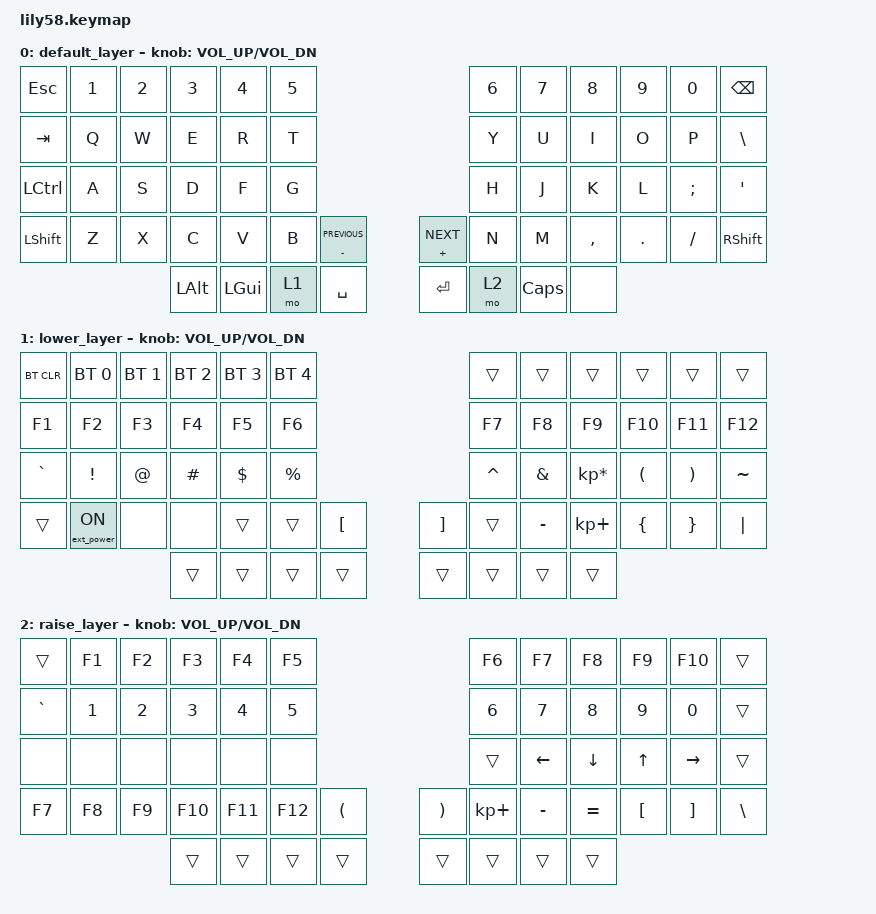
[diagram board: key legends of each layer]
/*
 * Copyright (c) 2020 The ZMK Contributors
 *
 * SPDX-License-Identifier: MIT
 */

#include <behaviors.dtsi>
#include <dt-bindings/zmk/bt.h>
#include <dt-bindings/zmk/ext_power.h>
#include <dt-bindings/zmk/keys.h>

/ {
    keymap {
        compatible = "zmk,keymap";

        default_layer {
            // ------------------------------------------------------------------------------------------------------------
            // |  ESC  |  1  |  2  |  3   |  4   |  5   |                   |  6   |  7    |  8    |  9   |   0   |   `   |
            // |  TAB  |  Q  |  W  |  E   |  R   |  T   |                   |  Y   |  U    |  I    |  O   |   P   |   -   |
            // |  CTRL |  A  |  S  |  D   |  F   |  G   |                   |  H   |  J    |  K    |  L   |   ;   |   '   |
            // | SHIFT |  Z  |  X  |  C   |  V   |  B   |   "["  |  |  "]"  |  N   |  M    |  ,    |  .   |   /   | SHIFT |
            //                     | ALT  | GUI  | LOWER|  SPACE |  | ENTER | RAISE| BSPC  | GUI   |

            bindings = <
&kp ESC           &kp N1  &kp N2  &kp N3    &kp N4    &kp N5                                           &kp N6  &kp N7        &kp N8     &kp N9   &kp N0    &kp BACKSPACE
&kp TAB           &kp Q   &kp W   &kp E     &kp R     &kp T                                            &kp Y   &kp U         &kp I      &kp O    &kp P     &kp BACKSLASH
&kp LEFT_CONTROL  &kp A   &kp S   &kp D     &kp F     &kp G                                            &kp H   &kp J         &kp K      &kp L    &kp SEMI  &kp SQT
&kp LSHFT         &kp Z   &kp X   &kp C     &kp V     &kp B   &mt MINUS K_PREVIOUS    &mt PLUS K_NEXT  &kp N   &kp M         &kp COMMA  &kp DOT  &kp FSLH  &kp RSHFT
                                  &kp LALT  &kp LGUI  &mo 1   &kp SPACE               &kp RET          &mo 2   &kp CAPSLOCK  &none
            >;

            sensor-bindings = <&inc_dec_kp C_VOL_UP C_VOL_DN>;
        };

        lower_layer {
            // ------------------------------------------------------------------------------------------------------------
            // | BTCLR | BT1 | BT2 |  BT3 |  BT4 |  BT5 |                   |      |       |       |      |       |       |
            // |  F1   |  F2 |  F3 |  F4  |  F5  |  F6  |                   |  F7  |  F8   |  F9   |  F10 |  F11  |  F12  |
            // |   `   |  !  |  @  |  #   |  $   |  %   |                   |  ^   |  &    |  *    |  (   |   )   |   ~   |
            // |       |     |     |      |      |      |        |  |       |      |  _    |  +    |  {   |   }   |  "|"  |
            //                     |      |      |      |        |  |       |      |       |       |

            bindings = <
&bt BT_CLR  &bt BT_SEL 0      &bt BT_SEL 1  &bt BT_SEL 2  &bt BT_SEL 3  &bt BT_SEL 4                                &trans     &trans     &trans           &trans    &trans    &trans
&kp F1      &kp F2            &kp F3        &kp F4        &kp F5        &kp F6                                      &kp F7     &kp F8     &kp F9           &kp F10   &kp F11   &kp F12
&kp GRAVE   &kp EXCL          &kp AT        &kp HASH      &kp DOLLAR    &kp PRCNT                                   &kp CARET  &kp AMPS   &kp KP_MULTIPLY  &kp LPAR  &kp RPAR  &kp TILDE
&trans      &ext_power EP_ON  &none         &none         &trans        &trans        &kp LEFT_BRACKET    &kp RBKT  &trans     &kp MINUS  &kp KP_PLUS      &kp LBRC  &kp RBRC  &kp PIPE
                                            &trans        &trans        &trans        &trans              &trans    &trans     &trans     &trans
            >;

            sensor-bindings = <&inc_dec_kp C_VOL_UP C_VOL_DN>;
        };

        raise_layer {
            // ------------------------------------------------------------------------------------------------------------
            // |       |     |     |      |      |      |                   |      |       |       |      |       |       |
            // |   `   |  1  |  2  |  3   |  4   |  5   |                   |  6   |   7   |   8   |  9   |   0   |       |
            // |   F1  |  F2 |  F3 |  F4  |  F5  |  F6  |                   |      |   <-  |   v   |  ^   |  ->   |       |
            // |   F7  |  F8 |  F9 |  F10 |  F11 |  F12 |        |  |       |  +   |   -   |   =   |  [   |   ]   |   \   |
            //                     |      |      |      |        |  |       |      |       |       |

            bindings = <
&trans     &kp F1  &kp F2  &kp F3   &kp F4   &kp F5                                                  &kp F6       &kp F7     &kp F8     &kp F9    &kp F10    &trans
&kp GRAVE  &kp N1  &kp N2  &kp N3   &kp N4   &kp N5                                                  &kp N6       &kp N7     &kp N8     &kp N9    &kp N0     &trans
&none      &none   &none   &none    &none    &none                                                   &trans       &kp LEFT   &kp DOWN   &kp UP    &kp RIGHT  &trans
&kp F7     &kp F8  &kp F9  &kp F10  &kp F11  &kp F12  &kp LEFT_PARENTHESIS    &kp RIGHT_PARENTHESIS  &kp KP_PLUS  &kp MINUS  &kp EQUAL  &kp LBKT  &kp RBKT   &kp BSLH
                           &trans   &trans   &trans   &trans                  &trans                 &trans       &trans     &trans
            >;

            sensor-bindings = <&inc_dec_kp C_VOL_UP C_VOL_DN>;
        };
    };
};
&oled {
    compatible = "sinowealth,sh1106";
    reg = <0x3c>;
    width = <128>;
    height = <64>;
    segment-offset = <0>;
    page-offset = <0>;
    display-offset = <0x62>;
    multiplex-ratio = <0x7f>;
    prechargep = <0x22>;
};
